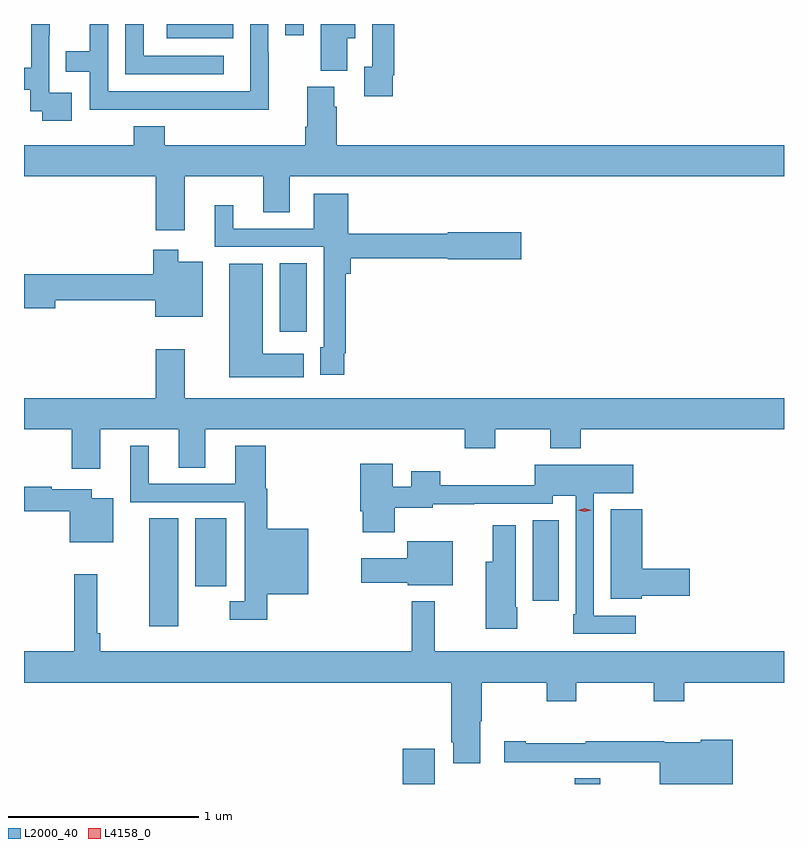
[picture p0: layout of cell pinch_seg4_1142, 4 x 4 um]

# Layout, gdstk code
import gdstk
lib = gdstk.Library(unit=1e-6, precision=1e-09)
def R(c, l, rs):  # rectangles x0, y0, x1, y1
    for r in rs: c.add(gdstk.rectangle(r[:2], r[2:], *l))
def P(c, l, *ps):  # polygons
    for p in ps: c.add(gdstk.Polygon(p, *l))
L2000_40 = (2000, 40)
L4158_0 = (4158, 0)

pinch_seg4_1142 = lib.new_cell('pinch_seg4_1142')
R(pinch_seg4_1142, L2000_40, [(402.206,782.966,402.376,783.151), (403.112,782.966,403.246,782.996), (400.871,783.795,401.026,784.364), (402.89,783.93,403.027,784.355), (401.114,784.008,401.278,784.364), (401.558,785.346,401.701,785.708), (400.965,786.89,401.314,786.966), (401.589,786.906,401.685,786.966)])
P(pinch_seg4_1142, L2000_40, [(402.154,786.697),(402.161,786.697),(402.161,786.966),(402.045,786.966),(402.045,786.741),(402.005,786.741),(402.005,786.585),(402.154,786.585)],
  [(400.465,786.603),(400.347,786.603),(400.347,786.907),(400.349,786.907),(400.349,786.966),(400.25,786.966),(400.25,786.737),(400.213,786.737),(400.213,786.621),(400.246,786.621),(400.246,786.507),(400.309,786.507),(400.309,786.456),(400.465,786.456)],
  [(401.501,786.818),(401.499,786.818),(401.499,786.966),(401.403,786.966),(401.403,786.612),(400.656,786.612),(400.656,786.966),(400.559,786.966),(400.559,786.823),(400.432,786.823),(400.432,786.714),(400.56,786.714),(400.56,786.516),(401.038,786.516),(401.038,786.515),(401.501,786.515)],
  [(401.263,786.798),(400.842,786.798),(400.842,786.966),(400.746,786.966),(400.746,786.702),(401.263,786.702)],
  [(401.914,786.89),(401.956,786.89),(401.956,786.966),(401.774,786.966),(401.774,786.721),(401.914,786.721)],
  [(401.059,786.164),(401.471,786.164),(401.471,785.974),(401.611,785.974),(401.611,786.164),(404.213,786.164),(404.213,786.328),(401.858,786.328),(401.858,786.53),(401.845,786.53),(401.845,786.636),(401.705,786.636),(401.705,786.424),(401.693,786.424),(401.693,786.328),(400.955,786.328),(400.955,786.427),(400.79,786.427),(400.79,786.328),(400.213,786.328),(400.213,786.164),(400.907,786.164),(400.907,785.88),(401.059,785.88)],
  [(401.899,785.233),(401.906,785.233),(401.906,785.651),(401.933,785.651),(401.933,785.734),(402.444,785.734),(402.444,785.729),(402.829,785.729),(402.829,785.871),(402.444,785.871),(402.444,785.863),(401.92,785.863),(401.92,786.073),(401.738,786.073),(401.738,785.889),(401.314,785.889),(401.314,786.013),(401.216,786.013),(401.216,785.793),(401.79,785.793),(401.79,785.265),(401.771,785.265),(401.771,785.121),(401.899,785.121)],
  [(401.155,785.716),(401.026,785.716),(401.026,785.779),(400.892,785.779),(400.892,785.648),(400.213,785.648),(400.213,785.47),(400.378,785.47),(400.378,785.512),(400.904,785.512),(400.904,785.426),(401.155,785.426)],
  [(401.686,785.23),(401.47,785.23),(401.47,785.704),(401.294,785.704),(401.294,785.108),(401.686,785.108)],
  [(401.059,785.254),(400.907,785.254),(400.907,784.996),(400.213,784.996),(400.213,784.832),(400.463,784.832),(400.463,784.626),(400.615,784.626),(400.615,784.832),(401.027,784.832),(401.027,784.63),(401.167,784.63),(401.167,784.832),(402.533,784.832),(402.533,784.733),(402.693,784.733),(402.693,784.832),(402.982,784.832),(402.982,784.733),(403.142,784.733),(403.142,784.832),(404.213,784.832),(404.213,784.996),(401.059,784.996)],
  [(401.492,783.965),(401.71,783.965),(401.71,784.309),(401.492,784.309),(401.492,784.52),(401.486,784.52),(401.486,784.747),(401.324,784.747),(401.324,784.545),(400.87,784.545),(400.87,784.747),(400.772,784.747),(400.772,784.449),(401.376,784.449),(401.376,783.927),(401.295,783.927),(401.295,783.83),(401.492,783.83)],
  [(403.432,783.852),(403.212,783.852),(403.212,784.496),(403.42,784.496),(403.42,784.645),(402.9,784.645),(402.9,784.538),(402.404,784.538),(402.404,784.612),(402.251,784.612),(402.251,784.531),(402.154,784.531),(402.154,784.651),(401.984,784.651),(401.984,784.402),(401.996,784.402),(401.996,784.29),(402.164,784.29),(402.164,784.421),(402.363,784.421),(402.363,784.439),(402.584,784.439),(402.584,784.44),(402.996,784.44),(402.996,784.484),(403.116,784.484),(403.116,783.859),(403.104,783.859),(403.104,783.756),(403.432,783.756)],
  [(400.684,784.471),(400.57,784.471),(400.57,784.518),(400.358,784.518),(400.358,784.531),(400.213,784.531),(400.213,784.402),(400.454,784.402),(400.454,784.238),(400.684,784.238)],
  [(403.464,783.958),(403.717,783.958),(403.717,784.1),(403.468,784.1),(403.468,784.411),(403.301,784.411),(403.301,783.941),(403.464,783.941)],
  [(402.81,783.895),(402.802,783.895),(402.802,784.327),(402.68,784.327),(402.68,784.135),(402.644,784.135),(402.644,783.783),(402.81,783.783)],
  [(402.469,784.244),(402.231,784.244),(402.231,784.153),(401.988,784.153),(401.988,784.024),(402.234,784.024),(402.234,784.013),(402.469,784.013)],
  [(402.613,783.296),(402.621,783.296),(402.621,783.5),(402.964,783.5),(402.964,783.401),(403.119,783.401),(403.119,783.5),(403.528,783.5),(403.528,783.401),(403.688,783.401),(403.688,783.5),(404.213,783.5),(404.213,783.664),(402.374,783.664),(402.374,783.928),(402.253,783.928),(402.253,783.664),(400.613,783.664),(400.613,783.76),(400.598,783.76),(400.598,784.069),(400.477,784.069),(400.477,783.664),(400.213,783.664),(400.213,783.5),(402.461,783.5),(402.461,783.187),(402.473,783.187),(402.473,783.075),(402.613,783.075)],
  [(403.943,783.199),(403.776,783.199),(403.776,783.187),(403.584,783.187),(403.584,783.19),(403.169,783.19),(403.169,783.18),(402.853,783.18),(402.853,783.19),(402.741,783.19),(402.741,783.08),(403.016,783.08),(403.016,783.081),(403.35,783.081),(403.35,783.08),(403.56,783.08),(403.56,782.966),(403.943,782.966)])
P(pinch_seg4_1142, L4158_0, [(403.163,784.398),(403.128,784.408),(403.128,784.408),(403.128,784.408),(403.163,784.418),(403.198,784.408),(403.198,784.408),(403.198,784.408)])

lib.write_gds('pinch_seg4_1142.gds')
